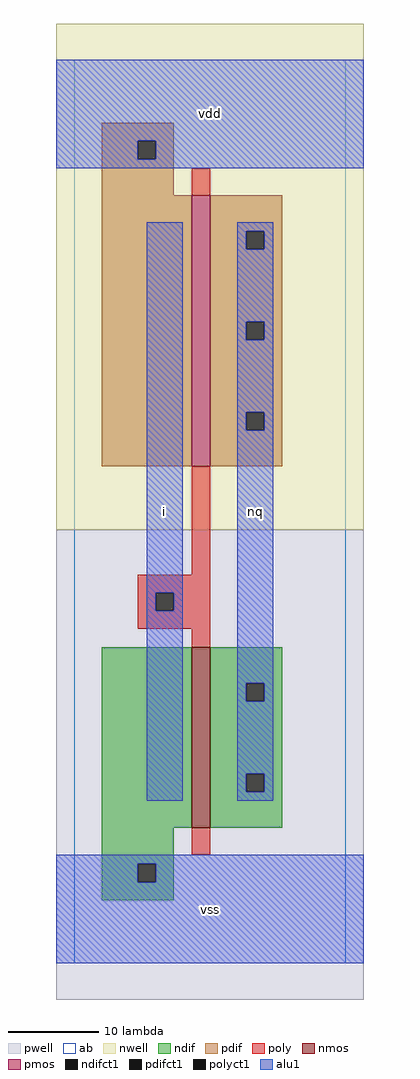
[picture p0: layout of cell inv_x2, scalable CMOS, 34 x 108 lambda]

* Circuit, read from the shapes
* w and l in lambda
.subckt inv_x2 i nq vdd vss
M1 nq i vss VSUBS nfet w=20 l=2
M2 nq i vdd n1 pfet w=30 l=2
.ends

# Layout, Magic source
magic
tech scmos
<< ab >>
rect 0 0 30 100
<< nwell >>
rect -2 48 32 104
<< pwell >>
rect -2 -4 32 48
<< poly >>
rect 13 85 15 88
rect 13 43 15 55
rect 7 41 15 43
rect 7 39 9 41
rect 11 39 15 41
rect 7 37 15 39
rect 13 35 15 37
rect 13 12 15 15
<< ndif >>
rect 3 15 13 35
rect 15 31 23 35
rect 15 29 19 31
rect 21 29 23 31
rect 15 21 23 29
rect 15 19 19 21
rect 21 19 23 21
rect 15 15 23 19
rect 3 11 11 15
rect 3 9 7 11
rect 9 9 11 11
rect 3 7 11 9
<< pdif >>
rect 3 91 11 93
rect 3 89 7 91
rect 9 89 11 91
rect 3 85 11 89
rect 3 55 13 85
rect 15 81 23 85
rect 15 79 19 81
rect 21 79 23 81
rect 15 71 23 79
rect 15 69 19 71
rect 21 69 23 71
rect 15 61 23 69
rect 15 59 19 61
rect 21 59 23 61
rect 15 55 23 59
<< alu1 >>
rect -2 91 32 100
rect -2 89 7 91
rect 9 89 32 91
rect -2 88 32 89
rect 8 41 12 82
rect 8 39 9 41
rect 11 39 12 41
rect 8 18 12 39
rect 18 81 22 82
rect 18 79 19 81
rect 21 79 22 81
rect 18 71 22 79
rect 18 69 19 71
rect 21 69 22 71
rect 18 61 22 69
rect 18 59 19 61
rect 21 59 22 61
rect 18 31 22 59
rect 18 29 19 31
rect 21 29 22 31
rect 18 21 22 29
rect 18 19 19 21
rect 21 19 22 21
rect 18 18 22 19
rect -2 11 32 12
rect -2 9 7 11
rect 9 9 32 11
rect -2 0 32 9
<< nmos >>
rect 13 15 15 35
<< pmos >>
rect 13 55 15 85
<< polyct1 >>
rect 9 39 11 41
<< ndifct1 >>
rect 19 29 21 31
rect 19 19 21 21
rect 7 9 9 11
<< pdifct1 >>
rect 7 89 9 91
rect 19 79 21 81
rect 19 69 21 71
rect 19 59 21 61
<< labels >>
rlabel alu1 15 6 15 6 6 vss
rlabel alu1 10 50 10 50 6 i
rlabel alu1 15 94 15 94 6 vdd
rlabel alu1 20 50 20 50 6 nq
<< end >>
